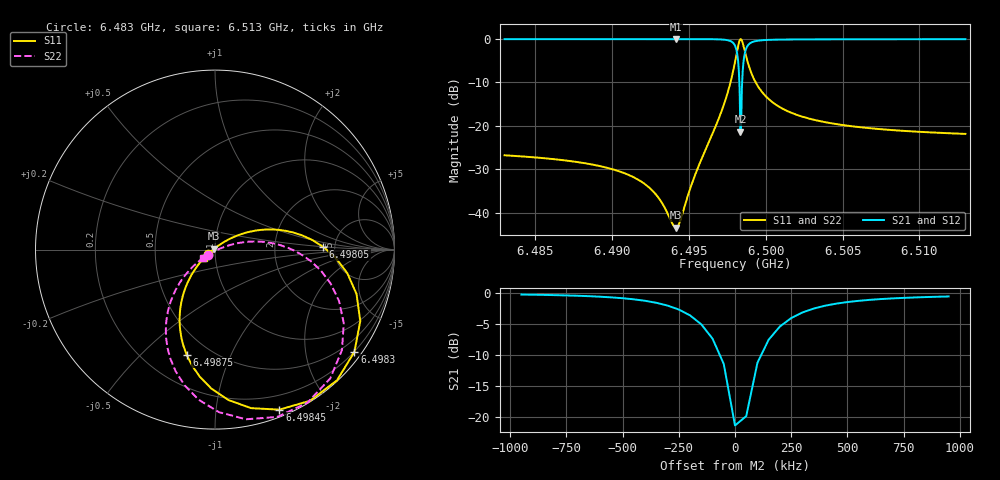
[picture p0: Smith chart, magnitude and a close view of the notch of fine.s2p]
! Touchstone file exported from HFSS 2021.2.0
!  File:  D:/Jay PhD/Code/Christian Andersen lab metal/andersen-lab-qiskit-metal-7ffcf333120ae557fdd8582a17358975285c58c2/SQL HFSS/Design7_Tunable_Transmon/simulation/aedt/D7.aedt
!  Generated:  9:00:23 %x4E0B%x5348  %x5341%x4E00%x6708 22, 2026
!  Design:  R_b6d1
!  Project:  D7
!  Setup:  Setup1
!  Solution:  SweepFine
# GHz S MA R 50.000000
! Terminal data exported
! Port[1] = LumpPort_feedline_end
! Port[2] = LumpPort_feedline_start
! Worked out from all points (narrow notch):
!   601 points, 6.483 GHz to 6.513 GHz, reference 50 ohm
!   highest |S21| = 0.00 dB at 6.49415 GHz (marker M1); lowest = -21.3 dB at 6.49835 GHz (marker M2)
!   notch at M2: 21.3 dB deep, 165 kHz wide at half that depth
!   lowest |S11| = -43.5 dB at 6.49415 GHz (marker M3), VSWR 1.01, Z = 49.6 + j0.522 ohm
!   |S11| at or under -10 dB: start of sweep to 6.497705 GHz; 6.499349 GHz to end of sweep
!   |S22| runs from -43.5 to 0.0 dB; largest |S21 - S12| = 4.2e-14
!   S11 on the Smith chart (normalised r, x): 6.483 GHz: 0.92, -0.05; 6.49805 GHz: 4.03, +0.20; 6.4983 GHz: 0.19, -3.05; 6.49845 GHz: 0.06, -1.48; 6.49875 GHz: 0.38, -0.70; 6.513 GHz: 0.88, -0.09
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6.483  0.04578 -147.6  0.999 124.9  0.999 124.9  0.04578 -142.6
! Gamma 0 0 0 0
! Port Impedance 50 0 50 0
6.488  0.03766 -150.0  0.9993 124.4  0.9993 124.4  0.03766 -141.3
6.49115  0.02684 -154.9  0.9996 123.7  0.9996 123.7  0.02684 -137.7
6.493  0.015 -167.7  0.9999 123.0  0.9999 123.0  0.015 -126.3
6.49415  0.006711 128.3  1 122.2  1 122.2  0.006711 -63.9
6.49705  0.136 33.1  0.9907 114.4  0.9907 114.4  0.136 15.7
6.49765  0.29 22.5  0.957 105.3  0.957 105.3  0.29 8.1
6.498  0.5429 5.8  0.8398 89.3  0.8398 89.3  0.5429 -7.2
6.49805  0.6032 1.5  0.7976 85.1  0.7976 85.1  0.6032 -11.3
6.49815  0.7471 -9.9  0.6647 73.8  0.6647 73.8  0.7471 -22.4
6.4982  0.8264 -17.4  0.5631 66.4  0.5631 66.4  0.8264 -29.7
6.4983  0.963 -36.2  0.2695 47.8  0.2695 47.8  0.963 -48.2
6.49835  0.9963 -47.0  0.08593 37.1  0.08593 37.1  0.9963 -58.8
6.49845  0.9611 -68.1  0.2762 -163.9  0.2762 -163.9  0.9611 -79.7
6.4986  0.7746 -91.5  0.6324 172.9  0.6324 172.9  0.7746 -102.7
6.49875  0.6065 -105.1  0.7951 159.5  0.7951 159.5  0.6065 -115.9
6.4991  0.3919 -119.8  0.92 145.2  0.92 145.2  0.3919 -129.8
6.49975  0.2467 -129.2  0.9691 136.4  0.9691 136.4  0.2467 -138.0
6.50105  0.1594 -135.2  0.9872 131.3  0.9872 131.3  0.1594 -142.2
6.503  0.1191 -138.4  0.9929 128.9  0.9929 128.9  0.1191 -143.7
6.508  0.09001 -141.1  0.9959 127.2  0.9959 127.2  0.09001 -144.4
6.513  0.0808 -142.2  0.9967 126.6  0.9967 126.6  0.0808 -144.5
